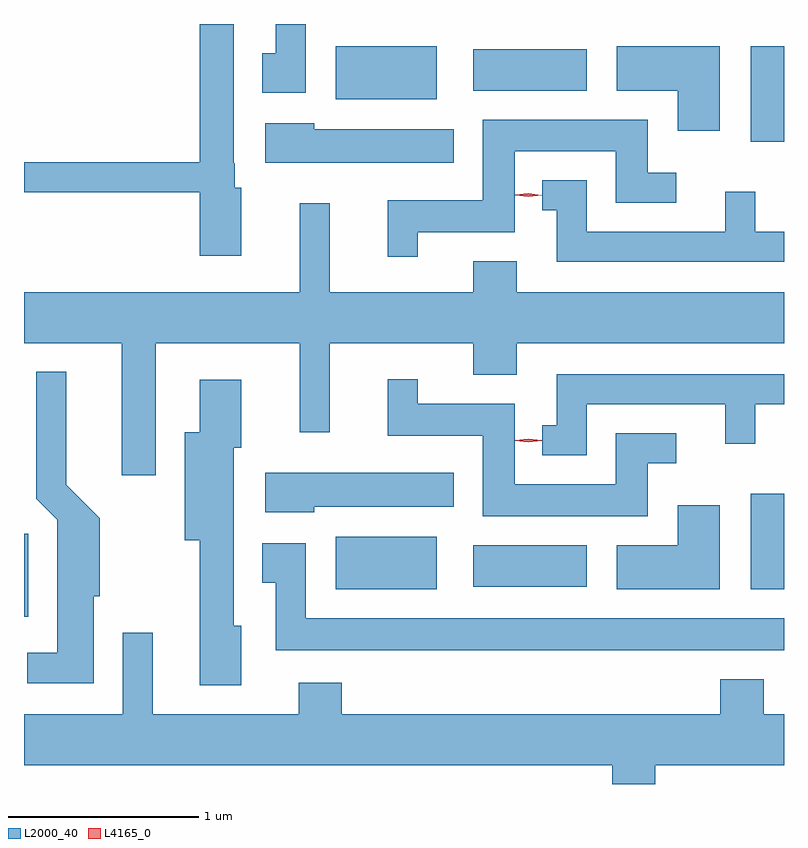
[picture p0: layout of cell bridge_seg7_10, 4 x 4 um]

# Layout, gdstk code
import gdstk
lib = gdstk.Library(unit=1e-6, precision=1e-09)
def R(c, l, rs):  # rectangles x0, y0, x1, y1
    for r in rs: c.add(gdstk.rectangle(r[:2], r[2:], *l))
def P(c, l, *ps):  # polygons
    for p in ps: c.add(gdstk.Polygon(p, *l))
L2000_40 = (2000, 40)
L4165_0 = (4165, 0)

bridge_seg7_10 = lib.new_cell('bridge_seg7_10')
R(bridge_seg7_10, L2000_40, [(1666.616,1770.596,1666.639,1771.033), (1668.256,1770.741,1668.789,1771.019), (1670.441,1770.741,1670.616,1771.244), (1668.981,1770.756,1669.579,1770.974), (1670.441,1773.096,1670.616,1773.599), (1668.256,1773.321,1668.789,1773.599), (1668.981,1773.366,1669.579,1773.584)])
P(bridge_seg7_10, L2000_40, [(1667.759,1772.854),(1667.724,1772.854),(1667.724,1772.985),(1667.719,1772.985),(1667.719,1773.717),(1667.541,1773.717),(1667.541,1772.989),(1666.616,1772.989),(1666.616,1772.831),(1667.541,1772.831),(1667.541,1772.496),(1667.759,1772.496)],
  [(1668.099,1773.717),(1667.941,1773.717),(1667.941,1773.564),(1667.871,1773.564),(1667.871,1773.356),(1668.099,1773.356)],
  [(1670.279,1773.599),(1669.736,1773.599),(1669.736,1773.366),(1670.056,1773.366),(1670.056,1773.156),(1670.279,1773.156)],
  [(1668.689,1772.621),(1669.199,1772.621),(1669.199,1773.046),(1669.731,1773.046),(1669.731,1772.776),(1670.048,1772.776),(1670.048,1772.934),(1669.899,1772.934),(1669.899,1773.214),(1669.031,1773.214),(1669.031,1772.789),(1668.531,1772.789),(1668.531,1772.493),(1668.689,1772.493)],
  [(1668.879,1773.164),(1668.144,1773.164),(1668.144,1773.194),(1667.886,1773.194),(1667.886,1772.986),(1668.879,1772.986)],
  [(1670.616,1772.624),(1670.464,1772.624),(1670.464,1772.833),(1670.306,1772.833),(1670.306,1772.624),(1669.579,1772.624),(1669.579,1772.894),(1669.343,1772.894),(1669.343,1772.736),(1669.421,1772.736),(1669.421,1772.466),(1670.616,1772.466)],
  [(1667.309,1772.036),(1668.066,1772.036),(1668.066,1771.568),(1668.224,1771.568),(1668.224,1772.036),(1668.981,1772.036),(1668.981,1771.871),(1669.209,1771.871),(1669.209,1772.036),(1670.616,1772.036),(1670.616,1772.304),(1669.209,1772.304),(1669.209,1772.469),(1668.981,1772.469),(1668.981,1772.304),(1668.224,1772.304),(1668.224,1772.773),(1668.066,1772.773),(1668.066,1772.304),(1666.616,1772.304),(1666.616,1772.036),(1667.131,1772.036),(1667.131,1771.341),(1667.309,1771.341)],
  [(1666.984,1770.706),(1667.014,1770.706),(1667.014,1771.117),(1666.839,1771.292),(1666.839,1771.888),(1666.681,1771.888),(1666.681,1771.219),(1666.791,1771.109),(1666.791,1770.409),(1666.633,1770.409),(1666.633,1770.246),(1666.984,1770.246)],
  [(1669.579,1771.716),(1670.306,1771.716),(1670.306,1771.508),(1670.464,1771.508),(1670.464,1771.716),(1670.616,1771.716),(1670.616,1771.874),(1669.421,1771.874),(1669.421,1771.604),(1669.343,1771.604),(1669.343,1771.446),(1669.579,1771.446)],
  [(1669.899,1771.406),(1670.048,1771.406),(1670.048,1771.564),(1669.731,1771.564),(1669.731,1771.294),(1669.199,1771.294),(1669.199,1771.719),(1668.689,1771.719),(1668.689,1771.848),(1668.531,1771.848),(1668.531,1771.551),(1669.031,1771.551),(1669.031,1771.126),(1669.899,1771.126)],
  [(1667.759,1770.549),(1667.719,1770.549),(1667.719,1771.486),(1667.759,1771.486),(1667.759,1771.844),(1667.541,1771.844),(1667.541,1771.569),(1667.461,1771.569),(1667.461,1771.001),(1667.541,1771.001),(1667.541,1770.236),(1667.759,1770.236)],
  [(1668.144,1771.176),(1668.879,1771.176),(1668.879,1771.354),(1667.886,1771.354),(1667.886,1771.146),(1668.144,1771.146)],
  [(1670.279,1771.184),(1670.056,1771.184),(1670.056,1770.974),(1669.736,1770.974),(1669.736,1770.741),(1670.279,1770.741)],
  [(1670.616,1770.589),(1668.099,1770.589),(1668.099,1770.984),(1667.871,1770.984),(1667.871,1770.776),(1667.941,1770.776),(1667.941,1770.421),(1670.616,1770.421)],
  [(1669.939,1769.816),(1670.616,1769.816),(1670.616,1770.084),(1670.509,1770.084),(1670.509,1770.269),(1670.281,1770.269),(1670.281,1770.084),(1668.289,1770.084),(1668.289,1770.249),(1668.061,1770.249),(1668.061,1770.084),(1667.294,1770.084),(1667.294,1770.513),(1667.136,1770.513),(1667.136,1770.084),(1666.616,1770.084),(1666.616,1769.816),(1669.711,1769.816),(1669.711,1769.717),(1669.939,1769.717)])
P(bridge_seg7_10, L4165_0, [(1669.271,1772.807),(1669.202,1772.817),(1669.202,1772.817),(1669.202,1772.818),(1669.271,1772.827),(1669.341,1772.817),(1669.341,1772.817),(1669.341,1772.816)],
  [(1669.271,1771.515),(1669.202,1771.524),(1669.202,1771.524),(1669.202,1771.525),(1669.271,1771.534),(1669.341,1771.525),(1669.341,1771.525),(1669.341,1771.524)])

lib.write_gds('bridge_seg7_10.gds')
